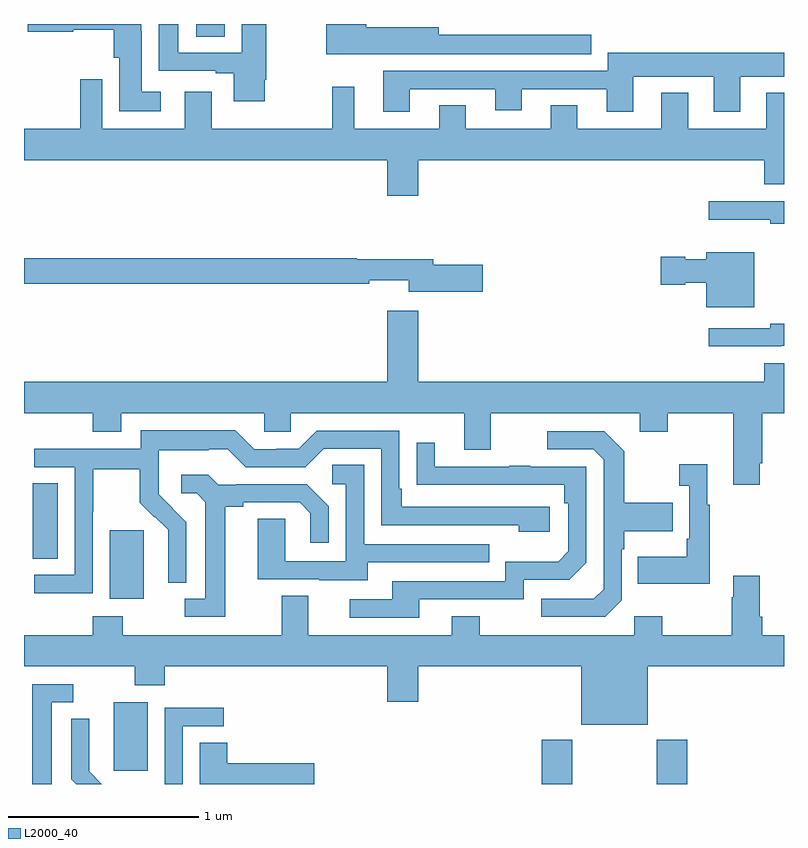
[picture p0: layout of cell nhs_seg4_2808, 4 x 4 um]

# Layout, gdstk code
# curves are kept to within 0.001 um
import gdstk
lib = gdstk.Library(unit=1e-6, precision=1e-09)
def R(c, l, rs):  # rectangles x0, y0, x1, y1
    for r in rs: c.add(gdstk.rectangle(r[:2], r[2:], *l))
def P(c, l, *ps):  # polygons
    for p in ps: c.add(gdstk.Polygon(p, *l))
L2000_40 = (2000, 40)

nhs_seg4_2808 = lib.new_cell('nhs_seg4_2808')
R(nhs_seg4_2808, L2000_40, [(261.725,762.9,261.885,763.132), (262.33,762.9,262.49,763.132), (259.472,762.969,259.651,763.33), (259.451,763.874,259.63,764.235), (259.046,764.086,259.177,764.483), (259.907,766.834,260.056,766.9)])
P(nhs_seg4_2808, L2000_40, [(260.266,766.606),(260.274,766.606),(260.274,766.9),(260.147,766.9),(260.147,766.749),(259.813,766.749),(259.813,766.9),(259.709,766.9),(259.709,766.653),(260.009,766.653),(260.009,766.641),(260.105,766.641),(260.105,766.494),(260.266,766.494)],
  [(261.985,766.843),(261.184,766.843),(261.184,766.882),(260.802,766.882),(260.802,766.9),(260.592,766.9),(260.592,766.742),(261.985,766.742)],
  [(259.72,766.543),(259.621,766.543),(259.621,766.862),(259.617,766.862),(259.617,766.9),(259.02,766.9),(259.02,766.859),(259.26,766.859),(259.26,766.871),(259.472,766.871),(259.472,766.722),(259.502,766.722),(259.502,766.442),(259.72,766.442)],
  [(261.031,766.557),(261.479,766.557),(261.479,766.445),(261.619,766.445),(261.619,766.557),(262.067,766.557),(262.067,766.437),(262.207,766.437),(262.207,766.622),(262.631,766.622),(262.631,766.437),(262.771,766.437),(262.771,766.622),(263,766.622),(263,766.75),(262.073,766.75),(262.073,766.653),(260.891,766.653),(260.891,766.437),(261.031,766.437)],
  [(261.076,766.184),(262.895,766.184),(262.895,766.056),(263,766.056),(263,766.537),(262.907,766.537),(262.907,766.348),(262.495,766.348),(262.495,766.537),(262.355,766.537),(262.355,766.348),(261.913,766.348),(261.913,766.472),(261.773,766.472),(261.773,766.348),(261.325,766.348),(261.325,766.472),(261.185,766.472),(261.185,766.348),(260.737,766.348),(260.737,766.57),(260.623,766.57),(260.623,766.348),(259.987,766.348),(259.987,766.543),(259.847,766.543),(259.847,766.348),(259.413,766.348),(259.413,766.609),(259.297,766.609),(259.297,766.348),(259,766.348),(259,766.184),(260.912,766.184),(260.912,765.996),(261.076,765.996)],
  [(263,765.966),(262.605,765.966),(262.605,765.869),(262.928,765.869),(262.928,765.85),(263,765.85)],
  [(262.843,765.7),(262.592,765.7),(262.592,765.661),(262.479,765.661),(262.479,765.674),(262.35,765.674),(262.35,765.527),(262.479,765.527),(262.479,765.539),(262.592,765.539),(262.592,765.41),(262.843,765.41)],
  [(261.415,765.632),(261.154,765.632),(261.154,765.661),(260.75,765.661),(260.75,765.668),(259,765.668),(259,765.532),(260.816,765.532),(260.816,765.551),(261.026,765.551),(261.026,765.49),(261.415,765.49)],
  [(262.873,764.587),(262.886,764.587),(262.886,764.852),(263,764.852),(263,765.114),(262.895,765.114),(262.895,765.016),(261.076,765.016),(261.076,765.391),(260.912,765.391),(260.912,765.016),(259,765.016),(259,764.852),(259.361,764.852),(259.361,764.753),(259.513,764.753),(259.513,764.852),(260.265,764.852),(260.265,764.754),(260.403,764.754),(260.403,764.852),(261.317,764.852),(261.317,764.658),(261.457,764.658),(261.457,764.852),(262.241,764.852),(262.241,764.753),(262.389,764.753),(262.389,764.852),(262.733,764.852),(262.733,764.475),(262.873,764.475)],
  [(262.985,765.207),(263,765.207),(263,765.323),(262.928,765.323),(262.928,765.3),(262.605,765.3),(262.605,765.203),(262.985,765.203)],
  [(259.362,764.332),(259.365,764.332),(259.365,764.556),(259.609,764.556),(259.609,764.381),(259.686,764.304),(259.689,764.307),(259.76,764.237),(259.76,764.114),(259.758,764.114),(259.758,763.96),(259.854,763.96),(259.854,764.278),(259.708,764.426),(259.708,764.523),(259.71,764.523),(259.71,764.657),(259.973,764.657),(259.973,764.661),(260.073,764.661),(260.166,764.568),(260.481,764.568),(260.577,764.664),(260.88,764.664),(260.88,764.262),(261.605,764.262),(261.605,764.228),(261.766,764.228),(261.766,764.358),(260.989,764.358),(260.989,764.455),(260.976,764.455),(260.976,764.76),(260.541,764.76),(260.445,764.664),(260.327,764.664),(260.327,764.661),(260.211,764.661),(260.111,764.761),(259.614,764.761),(259.614,764.664),(259.053,764.664),(259.053,764.568),(259.266,764.568),(259.266,764.001),(259.053,764.001),(259.053,763.903),(259.362,763.903)],
  [(262.146,763.866),(262.146,764.135),(262.159,764.135),(262.159,764.231),(262.415,764.231),(262.415,764.379),(262.159,764.379),(262.159,764.651),(262.053,764.757),(261.753,764.757),(261.753,764.661),(261.996,764.661),(262.05,764.607),(262.05,763.926),(261.999,763.875),(261.723,763.875),(261.723,763.779),(262.059,763.779)],
  [(261.079,763.872),(261.63,763.872),(261.63,763.974),(261.87,763.974),(261.96,764.064),(261.96,764.571),(261.665,764.571),(261.665,764.576),(261.553,764.576),(261.553,764.571),(261.163,764.571),(261.163,764.695),(261.067,764.695),(261.067,764.476),(261.844,764.475),(261.844,764.378),(261.864,764.378),(261.864,764.124),(261.811,764.071),(261.534,764.071),(261.534,763.968),(260.939,763.968),(260.939,763.872),(260.715,763.872),(260.715,763.776),(261.079,763.776)],
  [(262.609,764.371),(262.597,764.371),(262.597,764.584),(262.449,764.584),(262.449,764.471),(262.5,764.471),(262.5,764.191),(262.488,764.191),(262.488,764.095),(262.231,764.095),(262.231,763.955),(262.609,763.955)],
  [(260.809,764.067),(261.449,764.067),(261.449,764.163),(260.79,764.163),(260.79,764.579),(260.622,764.579),(260.622,764.478),(260.694,764.478),(260.694,764.073),(260.376,764.073),(260.376,764.297),(260.231,764.297),(260.231,763.977),(260.555,763.977),(260.555,763.973),(260.809,763.973)],
  [(260.059,764.36),(260.155,764.36),(260.155,764.382),(260.45,764.382),(260.507,764.325),(260.507,764.169),(260.604,764.169),(260.604,764.362),(260.488,764.478),(260.116,764.478),(260.116,764.475),(260.022,764.475),(259.97,764.527),(259.827,764.527),(259.827,764.43),(259.908,764.43),(259.955,764.383),(259.955,763.875),(259.845,763.875),(259.845,763.779),(260.059,763.779)],
  [(262.282,763.52),(263,763.52),(263,763.684),(262.886,763.684),(262.886,763.78),(262.873,763.78),(262.873,763.996),(262.733,763.996),(262.733,763.883),(262.726,763.883),(262.726,763.684),(262.359,763.684),(262.359,763.783),(262.212,763.783),(262.212,763.684),(261.399,763.684),(261.399,763.783),(261.251,763.783),(261.251,763.684),(260.497,763.684),(260.497,763.892),(260.357,763.892),(260.357,763.684),(259.521,763.684),(259.521,763.783),(259.361,763.783),(259.361,763.684),(259,763.684),(259,763.52),(259.582,763.52),(259.582,763.421),(259.742,763.421),(259.742,763.52),(260.912,763.52),(260.912,763.332),(261.076,763.332),(261.076,763.52),(261.932,763.52),(261.932,763.211),(262.282,763.211)],
  [(259.147,763.329),(259.258,763.329),(259.258,763.425),(259.043,763.425),(259.043,762.9),(259.147,762.9)],
  [(259.836,763.203),(260.05,763.203),(260.05,763.302),(259.74,763.302),(259.74,762.9),(259.836,762.9)],
  [(259.343,762.968),(259.343,763.09),(259.344,763.09),(259.344,763.244),(259.248,763.244),(259.248,762.926),(259.274,762.9),(259.41,762.9)],
  [(260.527,763.01),(260.069,763.01),(260.069,763.118),(259.925,763.118),(259.925,762.9),(260.527,762.9)])

lib.write_gds('nhs_seg4_2808.gds')
